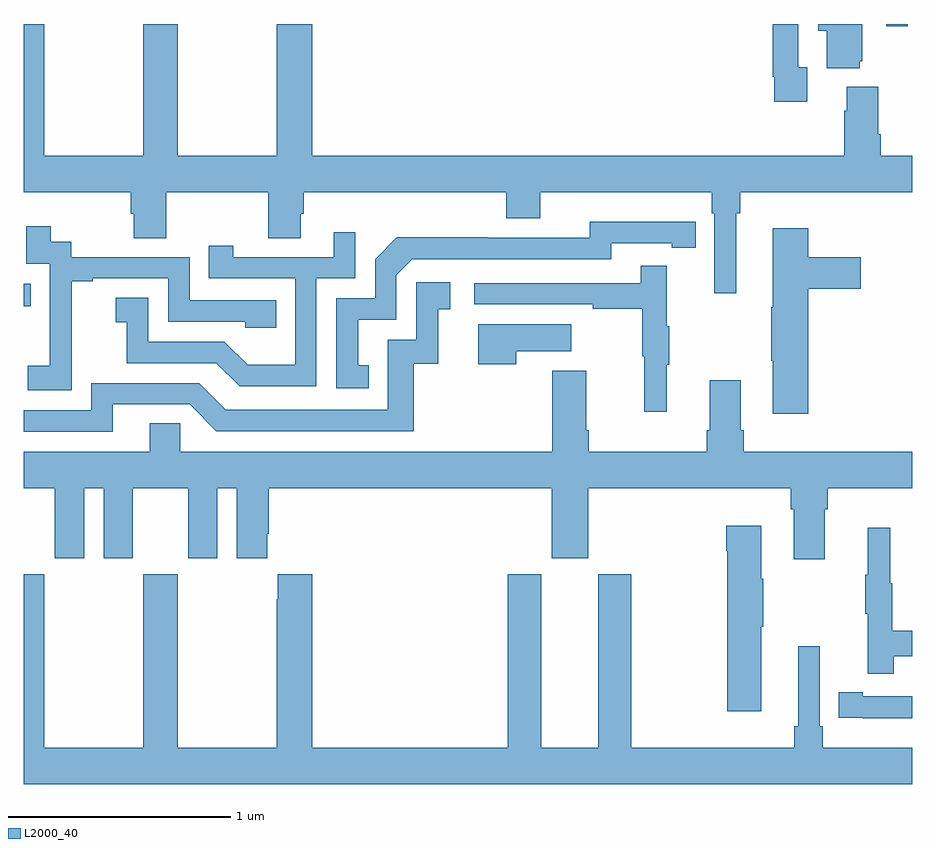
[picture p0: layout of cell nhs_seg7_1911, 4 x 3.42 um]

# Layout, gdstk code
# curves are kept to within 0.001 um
import gdstk
lib = gdstk.Library(unit=1e-6, precision=1e-09)
def R(c, l, rs):  # rectangles x0, y0, x1, y1
    for r in rs: c.add(gdstk.rectangle(r[:2], r[2:], *l))
def P(c, l, *ps):  # polygons
    for p in ps: c.add(gdstk.Polygon(p, *l))
L2000_40 = (2000, 40)

nhs_seg7_1911 = lib.new_cell('nhs_seg7_1911')
R(nhs_seg7_1911, L2000_40, [(239,1038.73,239.033,1038.831), (242.883,1039.989,242.979,1040)])
P(nhs_seg7_1911, L2000_40, [(239.094,1040),(239,1040),(239,1039.244),(239.483,1039.244),(239.483,1039.146),(239.495,1039.146),(239.495,1039.036),(239.643,1039.036),(239.643,1039.244),(240.1,1039.244),(240.1,1039.036),(240.247,1039.036),(240.247,1039.146),(240.26,1039.146),(240.26,1039.244),(241.172,1039.244),(241.172,1039.127),(241.324,1039.127),(241.324,1039.244),(242.096,1039.244),(242.096,1039.148),(242.109,1039.148),(242.109,1038.789),(242.206,1038.789),(242.206,1039.148),(242.225,1039.148),(242.225,1039.244),(243,1039.244),(243,1039.408),(242.858,1039.408),(242.858,1039.504),(242.845,1039.504),(242.845,1039.717),(242.705,1039.717),(242.705,1039.61),(242.693,1039.61),(242.693,1039.408),(240.299,1039.408),(240.299,1040),(240.139,1040),(240.139,1039.408),(239.694,1039.408),(239.694,1040),(239.539,1040),(239.539,1039.408),(239.094,1039.408)],
  [(242.762,1039.833),(242.773,1039.833),(242.773,1040),(242.576,1040),(242.576,1039.97),(242.615,1039.97),(242.615,1039.802),(242.762,1039.802)],
  [(242.527,1039.805),(242.487,1039.805),(242.487,1040),(242.371,1040),(242.371,1039.762),(242.379,1039.762),(242.379,1039.65),(242.527,1039.65)],
  [(240.554,1038.465),(240.505,1038.465),(240.505,1038.669),(240.678,1038.669),(240.678,1038.87),(240.75,1038.942),(241.644,1038.942),(241.644,1039.014),(241.916,1039.014),(241.916,1038.994),(242.024,1038.994),(242.024,1039.11),(241.548,1039.111),(241.548,1039.038),(241.088,1039.038),(241.088,1039.04),(240.68,1039.04),(240.582,1038.942),(240.582,1038.765),(240.408,1038.765),(240.408,1038.36),(240.554,1038.36)],
  [(239.217,1038.559),(239.216,1038.559),(239.216,1038.843),(239.311,1038.843),(239.311,1038.855),(239.652,1038.855),(239.652,1038.66),(239.997,1038.66),(239.997,1038.633),(240.137,1038.633),(240.137,1038.756),(239.748,1038.756),(239.748,1038.951),(239.214,1038.951),(239.214,1039.02),(239.122,1039.02),(239.122,1039.09),(239.013,1039.09),(239.013,1038.921),(239.118,1038.921),(239.118,1038.692),(239.117,1038.692),(239.117,1038.463),(239.019,1038.463),(239.019,1038.353),(239.217,1038.353)],
  [(242.531,1038.809),(242.767,1038.809),(242.767,1038.951),(242.531,1038.951),(242.531,1039.081),(242.372,1039.081),(242.372,1038.725),(242.365,1038.725),(242.365,1038.484),(242.372,1038.484),(242.372,1038.246),(242.531,1038.246)],
  [(240.318,1038.855),(240.492,1038.855),(240.492,1039.063),(240.395,1039.063),(240.395,1038.951),(239.944,1038.951),(239.944,1039.003),(239.833,1039.003),(239.833,1038.855),(240.222,1038.855),(240.222,1038.466),(240.008,1038.466),(239.904,1038.57),(239.562,1038.57),(239.562,1038.769),(239.415,1038.769),(239.415,1038.659),(239.464,1038.659),(239.464,1038.474),(239.867,1038.474),(239.972,1038.369),(240.318,1038.369)],
  [(241.895,1038.467),(241.906,1038.467),(241.906,1038.641),(241.895,1038.641),(241.895,1038.913),(241.777,1038.913),(241.777,1038.834),(241.029,1038.834),(241.029,1038.738),(241.561,1038.738),(241.561,1038.718),(241.785,1038.718),(241.785,1038.504),(241.792,1038.504),(241.792,1038.255),(241.895,1038.255)],
  [(239.401,1038.288),(239.748,1038.288),(239.868,1038.168),(240.755,1038.168),(240.755,1038.471),(240.866,1038.471),(240.866,1038.717),(240.919,1038.717),(240.919,1038.838),(240.768,1038.838),(240.768,1038.579),(240.639,1038.579),(240.639,1038.264),(239.91,1038.264),(239.79,1038.384),(239.304,1038.384),(239.304,1038.261),(239,1038.261),(239,1038.165),(239.401,1038.165)],
  [(241.217,1038.527),(241.465,1038.527),(241.465,1038.649),(241.046,1038.649),(241.046,1038.468),(241.217,1038.468)],
  [(242.605,1037.816),(242.618,1037.816),(242.618,1037.912),(243,1037.912),(243,1038.076),(242.24,1038.076),(242.24,1038.172),(242.227,1038.172),(242.227,1038.397),(242.087,1038.397),(242.087,1038.172),(242.075,1038.172),(242.075,1038.076),(241.544,1038.076),(241.544,1038.172),(241.531,1038.172),(241.531,1038.439),(241.379,1038.439),(241.379,1038.076),(239.706,1038.076),(239.706,1038.203),(239.567,1038.203),(239.567,1038.076),(239,1038.076),(239,1037.912),(239.141,1037.912),(239.141,1037.595),(239.272,1037.595),(239.272,1037.912),(239.36,1037.912),(239.36,1037.595),(239.491,1037.595),(239.491,1037.912),(239.741,1037.912),(239.741,1037.595),(239.872,1037.595),(239.872,1037.912),(239.96,1037.912),(239.96,1037.595),(240.097,1037.595),(240.097,1037.707),(240.104,1037.707),(240.104,1037.912),(241.376,1037.912),(241.376,1037.595),(241.54,1037.595),(241.54,1037.912),(242.453,1037.912),(242.453,1037.816),(242.465,1037.816),(242.465,1037.592),(242.605,1037.592)],
  [(242.32,1037.287),(242.328,1037.287),(242.328,1037.504),(242.32,1037.504),(242.32,1037.743),(242.162,1037.743),(242.162,1037.63),(242.167,1037.63),(242.167,1036.908),(242.32,1036.908)],
  [(242.915,1037.154),(243,1037.154),(243,1037.27),(242.908,1037.27),(242.908,1037.484),(242.9,1037.484),(242.9,1037.734),(242.798,1037.734),(242.798,1037.521),(242.787,1037.521),(242.787,1037.347),(242.798,1037.347),(242.798,1037.076),(242.915,1037.076)],
  [(243,1036.744),(242.597,1036.744),(242.597,1036.84),(242.583,1036.84),(242.583,1037.2),(242.486,1037.2),(242.486,1036.84),(242.467,1036.84),(242.467,1036.744),(241.734,1036.744),(241.734,1037.523),(241.586,1037.523),(241.586,1036.744),(241.33,1036.744),(241.33,1037.523),(241.178,1037.523),(241.178,1036.744),(240.299,1036.744),(240.299,1037.524),(240.143,1037.524),(240.143,1037.411),(240.139,1037.411),(240.139,1036.744),(239.694,1036.744),(239.694,1037.524),(239.539,1037.524),(239.539,1036.744),(239.094,1036.744),(239.094,1037.524),(239,1037.524),(239,1036.58),(243,1036.58)],
  [(243,1036.974),(242.776,1036.974),(242.776,1036.994),(242.668,1036.994),(242.668,1036.878),(242.776,1036.878),(242.776,1036.877),(243,1036.877)])

lib.write_gds('nhs_seg7_1911.gds')
